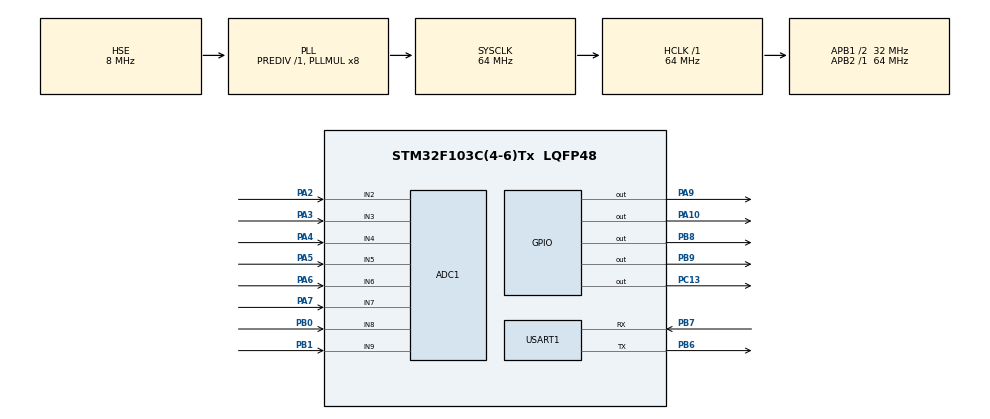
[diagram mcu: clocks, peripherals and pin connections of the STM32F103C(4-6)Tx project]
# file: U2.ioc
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ADC1.Channel-0\#ChannelRegularConversion=ADC_CHANNEL_2
ADC1.NbrOfConversionFlag=1
ADC1.Rank-0\#ChannelRegularConversion=1
ADC1.SamplingTime-0\#ChannelRegularConversion=ADC_SAMPLETIME_1CYCLE_5
ADC1.master=1
Mcu.Family=STM32F1
Mcu.Name=STM32F103C(4-6)Tx
Mcu.Package=LQFP48
NVIC.PriorityGroup=NVIC_PRIORITYGROUP_4
PA10.Signal=GPIO_Output
PA13.Mode=Serial_Wire
PA13.Signal=SYS_JTMS-SWDIO
PA14.Mode=Serial_Wire
PA14.Signal=SYS_JTCK-SWCLK
PA2.Signal=ADCx_IN2
PA3.Signal=ADCx_IN3
PA4.Signal=ADCx_IN4
PA5.Signal=ADCx_IN5
PA6.Signal=ADCx_IN6
PA7.Signal=ADCx_IN7
PA9.Signal=GPIO_Output
PB0.Signal=ADCx_IN8
PB1.Signal=ADCx_IN9
PB6.Mode=Asynchronous
PB6.Signal=USART1_TX
PB7.Mode=Asynchronous
PB7.Signal=USART1_RX
PB8.Signal=GPIO_Output
PB9.Signal=GPIO_Output
PC13-TAMPER-RTC.Signal=GPIO_Output
PD0-OSC_IN.Mode=HSE-External-Oscillator
PD0-OSC_IN.Signal=RCC_OSC_IN
PD1-OSC_OUT.Mode=HSE-External-Oscillator
PD1-OSC_OUT.Signal=RCC_OSC_OUT
ProjectManager.HeapSize=0x200
ProjectManager.StackSize=0x400
ProjectManager.TargetToolchain=MDK-ARM V5
RCC.ADCPresc=RCC_ADCPCLK2_DIV6
RCC.AHBFreq_Value=64000000
RCC.APB1CLKDivider=RCC_HCLK_DIV2
RCC.APB1Freq_Value=32000000
RCC.APB1TimFreq_Value=64000000
RCC.APB2Freq_Value=64000000
RCC.APB2TimFreq_Value=64000000
RCC.HCLKFreq_Value=64000000
RCC.PLLMUL=RCC_PLL_MUL16
RCC.SYSCLKFreq_VALUE=64000000
RCC.SYSCLKSource=RCC_SYSCLKSOURCE_PLLCLK
RCC.USBFreq_Value=64000000
SH.ADCx_IN2.0=ADC1_IN2,IN2
SH.ADCx_IN3.0=ADC1_IN3,IN3
SH.ADCx_IN4.0=ADC1_IN4,IN4
SH.ADCx_IN5.0=ADC1_IN5,IN5
SH.ADCx_IN6.0=ADC1_IN6,IN6
SH.ADCx_IN7.0=ADC1_IN7,IN7
SH.ADCx_IN8.0=ADC1_IN8,IN8
SH.ADCx_IN9.0=ADC1_IN9,IN9
USART1.VirtualMode=VM_ASYNC
board=custom

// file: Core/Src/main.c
/* USER CODE BEGIN Header */
/**
  ******************************************************************************
  * @file           : main.c
  * @brief          : M1 测试治具 —— U2（主控2）主程序
  *
  * 功能：
  *   1) PC 协议（USART1 PB6/PB7，115200 8N1，A5 5B 帧）
  *   2) 8 路测试点 ADC 采集（含 VDDA 校准）—— 与 U1 同一组网络，可做交叉校验
  *   3) 对射传感器检测（ADC4/ADC5）
  *   4) TMC2209：EN=PA0 / DIR=PB8 / STEP=PB9 / 单线 UART=PA9(TX)、PA10(RX)
  *
  * 时钟：HSE 8MHz × 8 = 64MHz
  ******************************************************************************
  */
/* USER CODE END Header */
#include "main.h"
#include "adc.h"
#include "usart.h"
#include "gpio.h"

/* USER CODE BEGIN Includes */
#include "app_config.h"
#include "app.h"
#include "bsp_adc.h"
#include "bsp_clock.h"
#include "bsp_uart.h"
#include "bsp_motor.h"
#include "bsp_tmc2209.h"
#include "protocol.h"
/* USER CODE END Includes */

void SystemClock_Config(void);

int main(void)
{

  /* MCU Configuration--------------------------------------------------------*/

  /* Reset of all peripherals, Initializes the Flash interface and the Systick. */
  HAL_Init();

  /* Configure the system clock */
  SystemClock_Config();

  /* USER CODE BEGIN SysInit */
  BSP_Clock_Init();    /* 兜底：确保 HSE 64MHz（CubeMX 重新生成后仍然有效） */
  /* USER CODE END SysInit */

  /* Initialize all configured peripherals */
  MX_GPIO_Init();
  MX_ADC1_Init();
  MX_USART1_UART_Init();
  /* USER CODE BEGIN 2 */
  BSP_ADC_Init();      /* ADC 自校准 + VDDA 反算 */
  BSP_UART_Init();     /* PC_UART_BAUD + DMA 接收 */

  /* TMC2209：先探测（扫地址 + 必要时交换 TX/RX 引脚），再写配置并读回校验。
   * 探测失败不阻塞启动 —— 上位机可用 0x0020 查询到 alive=0。 */
  BSP_TMC_Init();
  (void)BSP_TMC_Probe();
  if (BSP_TMC_IsAlive()) {
    (void)BSP_TMC_Configure();
  }

  BSP_Motor_Init();    /* TIM2 + EN/DIR/STEP，默认脱机 */

  APP_Init();
  PROTO_Init();
  /* USER CODE END 2 */

  /* Infinite loop */
  while (1)
  {

    /* USER CODE BEGIN 3 */
    PROTO_Run();
    APP_Poll();
  }
  /* USER CODE END 3 */
}

void SystemClock_Config(void)
{
  RCC_OscInitTypeDef RCC_OscInitStruct = {0};
  RCC_ClkInitTypeDef RCC_ClkInitStruct = {0};
  RCC_PeriphCLKInitTypeDef PeriphClkInit = {0};

  RCC_OscInitStruct.OscillatorType = RCC_OSCILLATORTYPE_HSE;
  RCC_OscInitStruct.HSEState = RCC_HSE_ON;
  RCC_OscInitStruct.HSEPredivValue = RCC_HSE_PREDIV_DIV1;
  RCC_OscInitStruct.PLL.PLLState = RCC_PLL_ON;
  RCC_OscInitStruct.PLL.PLLSource = RCC_PLLSOURCE_HSE;
  RCC_OscInitStruct.PLL.PLLMUL = RCC_PLL_MUL8;
  if (HAL_RCC_OscConfig(&RCC_OscInitStruct) != HAL_OK)
  {
    /* 晶振未起振 → 退回内部 HSI，仍保持 64MHz */
    RCC_OscInitStruct.OscillatorType = RCC_OSCILLATORTYPE_HSI;
    RCC_OscInitStruct.HSIState = RCC_HSI_ON;
    RCC_OscInitStruct.HSICalibrationValue = RCC_HSICALIBRATION_DEFAULT;
    RCC_OscInitStruct.PLL.PLLState = RCC_PLL_ON;
    RCC_OscInitStruct.PLL.PLLSource = RCC_PLLSOURCE_HSI_DIV2;
    RCC_OscInitStruct.PLL.PLLMUL = RCC_PLL_MUL16;
    if (HAL_RCC_OscConfig(&RCC_OscInitStruct) != HAL_OK)
    {
      Error_Handler();
    }
  }

  /** Initializes the CPU, AHB and APB buses clocks
  */
  RCC_ClkInitStruct.ClockType = RCC_CLOCKTYPE_HCLK|RCC_CLOCKTYPE_SYSCLK
                              |RCC_CLOCKTYPE_PCLK1|RCC_CLOCKTYPE_PCLK2;
  RCC_ClkInitStruct.SYSCLKSource = RCC_SYSCLKSOURCE_PLLCLK;
  RCC_ClkInitStruct.AHBCLKDivider = RCC_SYSCLK_DIV1;
  RCC_ClkInitStruct.APB1CLKDivider = RCC_HCLK_DIV2;
  RCC_ClkInitStruct.APB2CLKDivider = RCC_HCLK_DIV1;

  if (HAL_RCC_ClockConfig(&RCC_ClkInitStruct, FLASH_LATENCY_2) != HAL_OK)
  {
    Error_Handler();
  }
  PeriphClkInit.PeriphClockSelection = RCC_PERIPHCLK_ADC;
  PeriphClkInit.AdcClockSelection = RCC_ADCPCLK2_DIV6;   /* 10.67MHz */
  if (HAL_RCCEx_PeriphCLKConfig(&PeriphClkInit) != HAL_OK)
  {
    Error_Handler();
  }
}

void Error_Handler(void)
{
  __disable_irq();
  while (1)
  {
  }
}
